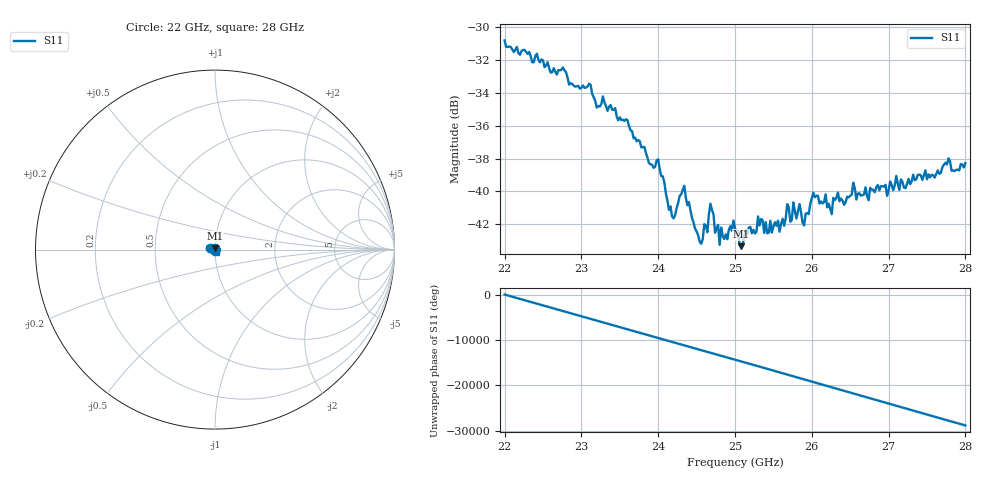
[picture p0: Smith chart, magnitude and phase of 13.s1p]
#  HZ  S  RI  R  50.00
! Rohde & Schwarz ZVA40 4Ports - Version 3.90 - 1145.1110k42 SN: 100403
! Date: 2023-10-04 08:33:32
! Measurement: S12
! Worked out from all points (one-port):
!   301 points, 22 GHz to 28 GHz, reference 50 ohm
!   lowest |S11| = -43.3 dB at 25.08 GHz (marker M1), VSWR 1.01, Z = 49.9 + j0.677 ohm
!   |S11| at or under -10 dB: start of sweep to end of sweep
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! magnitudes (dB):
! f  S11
! 22 GHz  -30.8
! 22.76 GHz  -32.4
! 23.5 GHz  -35.5
! 23.88 GHz  -38.3
! 24 GHz  -38.0
! 24.18 GHz  -41.5
! 24.26 GHz  -40.7
! 24.34 GHz  -39.7
! 24.56 GHz  -43.2
! 24.6 GHz  -42.0
! 24.64 GHz  -42.5
! 24.68 GHz  -40.7
! 24.8 GHz  -43.3
! 24.82 GHz  -42.2
! 25 GHz  -42.2
! 25.08 GHz  -43.3
! 25.3 GHz  -41.5
! 25.58 GHz  -42.5
! 25.68 GHz  -40.8
! 25.74 GHz  -41.7
! 25.76 GHz  -40.7
! 25.9 GHz  -42.1
! 26.02 GHz  -40.1
! 26.26 GHz  -41.4
! 26.34 GHz  -40.1
! 26.5 GHz  -40.3
! 27.26 GHz  -39.2
! 28 GHz  -38.3
